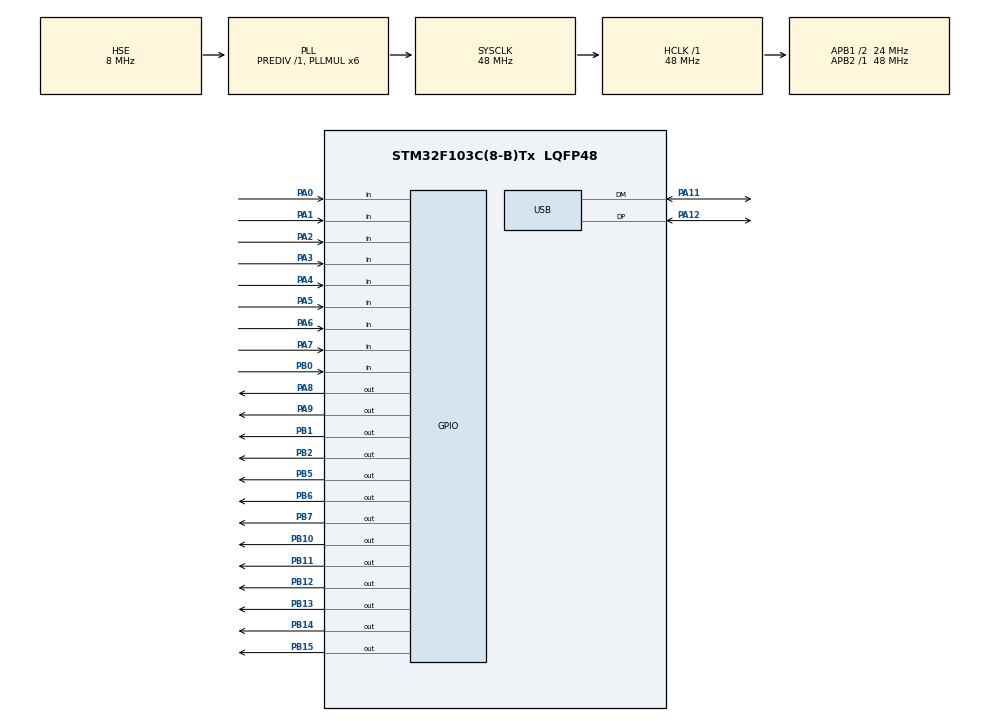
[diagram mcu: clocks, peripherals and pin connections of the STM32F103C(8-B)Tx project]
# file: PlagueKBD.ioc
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Mcu.Family=STM32F1
PA2.GPIO_PuPd=GPIO_PULLDOWN
FREERTOS.Queues01=keyboardRecordQueue,16,uint16_t,0,Dynamic,NULL,NULL
USB_DEVICE.CLASS_NAME_FS=HID
PB10.GPIO_PuPd=GPIO_PULLUP
FREERTOS.Events01=kbdHMIevent,Dynamic,NULL
PA3.GPIO_PuPd=GPIO_PULLDOWN
PA11.Mode=Device
PB11.GPIO_PuPd=GPIO_PULLUP
PB11.Signal=GPIO_Output
PB13.Signal=GPIO_Output
PB15.Signal=GPIO_Output
RCC.SYSCLKSource=RCC_SYSCLKSOURCE_PLLCLK
ProjectManager.StackSize=0x400
VP_FREERTOS_VS_CMSIS_V2.Mode=CMSIS_V2
PD1-OSC_OUT.Signal=RCC_OSC_OUT
PA12.Signal=USB_DP
PB1.GPIO_PuPd=GPIO_PULLUP
RCC.HCLKFreq_Value=48000000
RCC.APB2TimFreq_Value=48000000
PB6.Signal=GPIO_Output
PA1.GPIO_PuPd=GPIO_PULLDOWN
RCC.AHBFreq_Value=48000000
PA4.GPIO_PuPd=GPIO_PULLDOWN
PB2.Signal=GPIO_Output
PB3.Mode=JTAG_4_pins
PA15.Mode=JTAG_4_pins
RCC.PLLMUL=RCC_PLL_MUL6
PA6.GPIO_PuPd=GPIO_PULLDOWN
PA14.Mode=JTAG_4_pins
PA5.GPIO_PuPd=GPIO_PULLDOWN
PB7.Signal=GPIO_Output
PA8.Signal=GPIO_Output
PB2.GPIO_PuPd=GPIO_PULLUP
Mcu.Package=LQFP48
PB14.GPIO_PuPd=GPIO_PULLUP
PB1.Signal=GPIO_Output
PA6.Signal=GPIO_Input
PB15.GPIO_PuPd=GPIO_PULLUP
PA15.Signal=SYS_JTDI
RCC.APB1TimFreq_Value=48000000
PA3.Signal=GPIO_Input
PB7.GPIO_PuPd=GPIO_PULLUP
FREERTOS.Tasks01=defaultTask,24,128,StartDefaultTask,Default,NULL,Dynamic,NULL,NULL;kbdMatrixRead,40,128,StartTask_kbdMatrixRead,Default,NULL,Dynamic,NULL,NULL;processRecord,32,128,StartTask_processRecord,Default,NULL,Dynamic,NULL,NULL
PD1-OSC_OUT.Mode=HSE-External-Oscillator
USB_DEVICE.VirtualModeFS=Hid_FS
PB6.GPIO_PuPd=GPIO_PULLUP
PD0-OSC_IN.Signal=RCC_OSC_IN
RCC.APB1CLKDivider=RCC_HCLK_DIV2
PA9.GPIO_PuPd=GPIO_PULLUP
PA0-WKUP.Signal=GPIO_Input
PA13.Signal=SYS_JTMS-SWDIO
ProjectManager.TargetToolchain=STM32CubeIDE
PA9.Signal=GPIO_Output
RCC.USBFreq_Value=48000000
PA7.GPIO_PuPd=GPIO_PULLDOWN
PA1.Signal=GPIO_Input
PD0-OSC_IN.Mode=HSE-External-Oscillator
PB10.Signal=GPIO_Output
PB14.Signal=GPIO_Output
PA5.Signal=GPIO_Input
board=custom
PB13.GPIO_PuPd=GPIO_PULLUP
VP_USB_DEVICE_VS_USB_DEVICE_HID_FS.Mode=HID_FS
RCC.APB2Freq_Value=48000000
NVIC.USB_LP_CAN1_RX0_IRQn=true\:5\:0\:false\:false\:true\:true\:false\:true
PA13.Mode=JTAG_4_pins
Mcu.Name=STM32F103C(8-B)Tx
PA2.Signal=GPIO_Input
PB3.Signal=SYS_JTDO-TRACESWO
PA4.Signal=GPIO_Input
RCC.SYSCLKFreq_VALUE=48000000
PB5.Signal=GPIO_Output
PA12.Mode=Device
PB5.GPIO_PuPd=GPIO_PULLUP
PA11.Signal=USB_DM
PA14.Signal=SYS_JTCK-SWCLK
ProjectManager.HeapSize=0x200
PA8.GPIO_PuPd=GPIO_PULLUP
NVIC.PriorityGroup=NVIC_PRIORITYGROUP_4
PA0-WKUP.GPIO_PuPd=GPIO_PULLDOWN
PB12.GPIO_PuPd=GPIO_PULLUP
RCC.APB1Freq_Value=24000000
PB0.Signal=GPIO_Input
USB_DEVICE.VirtualMode=Hid
PB12.Signal=GPIO_Output
PB0.GPIO_PuPd=GPIO_PULLDOWN
PA7.Signal=GPIO_Input

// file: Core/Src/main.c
/* USER CODE BEGIN Header */
/**
  ******************************************************************************
  * @file           : main.c
  * @brief          : Main program body
  ******************************************************************************
  * @attention
  *
  * <h2><center>&copy; Copyright (c) 2021 STMicroelectronics.
  * All rights reserved.</center></h2>
  *
  * This software component is licensed by ST under BSD 3-Clause license,
  * the "License"; You may not use this file except in compliance with the
  * License. You may obtain a copy of the License at:
  *                        opensource.org/licenses/BSD-3-Clause
  *
  ******************************************************************************
  */
/* USER CODE END Header */
#include "main.h"
#include "cmsis_os.h"
#include "usb_device.h"

/* Definitions for defaultTask */
osThreadId_t defaultTaskHandle;
const osThreadAttr_t defaultTask_attributes = {
  .name = "defaultTask",
  .stack_size = 128 * 4,
  .priority = (osPriority_t) osPriorityNormal,
};
/* Definitions for kbdMatrixRead */
osThreadId_t kbdMatrixReadHandle;
const osThreadAttr_t kbdMatrixRead_attributes = {
  .name = "kbdMatrixRead",
  .stack_size = 128 * 4,
  .priority = (osPriority_t) osPriorityHigh,
};
/* Definitions for processRecord */
osThreadId_t processRecordHandle;
const osThreadAttr_t processRecord_attributes = {
  .name = "processRecord",
  .stack_size = 128 * 4,
  .priority = (osPriority_t) osPriorityAboveNormal,
};
/* Definitions for keyboardRecordQueue */
osMessageQueueId_t keyboardRecordQueueHandle;
const osMessageQueueAttr_t keyboardRecordQueue_attributes = {
  .name = "keyboardRecordQueue"
};
/* Definitions for kbdHMIevent */
osEventFlagsId_t kbdHMIeventHandle;
const osEventFlagsAttr_t kbdHMIevent_attributes = {
  .name = "kbdHMIevent"
};
/* USER CODE BEGIN PV */
extern uint8_t currentKeymapLevel;
extern KBDglobalState globalState;
/* USER CODE END PV */

void SystemClock_Config(void);
static void MX_GPIO_Init(void);
void StartDefaultTask(void *argument);
void StartTask_kbdMatrixRead(void *argument);
void StartTask_processRecord(void *argument);

int main(void)
{

  /* MCU Configuration--------------------------------------------------------*/

  /* Reset of all peripherals, Initializes the Flash interface and the Systick. */
   HAL_Init();

  /* Configure the system clock */
  SystemClock_Config();

  /* Initialize all configured peripherals */
  MX_GPIO_Init();
  /* USER CODE BEGIN 2 */
  LEDkeymapLevel(currentKeymapLevel);
  /* USER CODE END 2 */

  /* Init scheduler */
  osKernelInitialize();

  /* Create the queue(s) */
  /* creation of keyboardRecordQueue */
  keyboardRecordQueueHandle = osMessageQueueNew (16, sizeof(KEYMSGQUEUE_OBJ_t), &keyboardRecordQueue_attributes);

  /* Create the thread(s) */
  /* creation of defaultTask */
  defaultTaskHandle = osThreadNew(StartDefaultTask, NULL, &defaultTask_attributes);

  /* creation of kbdMatrixRead */
  kbdMatrixReadHandle = osThreadNew(StartTask_kbdMatrixRead, NULL, &kbdMatrixRead_attributes);

  /* creation of processRecord */
  processRecordHandle = osThreadNew(StartTask_processRecord, NULL, &processRecord_attributes);

  /* Create the event(s) */
  /* creation of kbdHMIevent */
  kbdHMIeventHandle = osEventFlagsNew(&kbdHMIevent_attributes);

  /* Start scheduler */
  osKernelStart();

  /* We should never get here as control is now taken by the scheduler */
  /* Infinite loop */
  while (1)
  {

  }
}

void SystemClock_Config(void)
{
  RCC_OscInitTypeDef RCC_OscInitStruct = {0};
  RCC_ClkInitTypeDef RCC_ClkInitStruct = {0};
  RCC_PeriphCLKInitTypeDef PeriphClkInit = {0};

  /** Initializes the RCC Oscillators according to the specified parameters
  * in the RCC_OscInitTypeDef structure.
  */
  RCC_OscInitStruct.OscillatorType = RCC_OSCILLATORTYPE_HSE;
  RCC_OscInitStruct.HSEState = RCC_HSE_ON;
  RCC_OscInitStruct.HSEPredivValue = RCC_HSE_PREDIV_DIV1;
  RCC_OscInitStruct.HSIState = RCC_HSI_ON;
  RCC_OscInitStruct.PLL.PLLState = RCC_PLL_ON;
  RCC_OscInitStruct.PLL.PLLSource = RCC_PLLSOURCE_HSE;
  RCC_OscInitStruct.PLL.PLLMUL = RCC_PLL_MUL6;
  if (HAL_RCC_OscConfig(&RCC_OscInitStruct) != HAL_OK)
  {
    Error_Handler();
  }
  /** Initializes the CPU, AHB and APB buses clocks
  */
  RCC_ClkInitStruct.ClockType = RCC_CLOCKTYPE_HCLK|RCC_CLOCKTYPE_SYSCLK
                              |RCC_CLOCKTYPE_PCLK1|RCC_CLOCKTYPE_PCLK2;
  RCC_ClkInitStruct.SYSCLKSource = RCC_SYSCLKSOURCE_PLLCLK;
  RCC_ClkInitStruct.AHBCLKDivider = RCC_SYSCLK_DIV1;
  RCC_ClkInitStruct.APB1CLKDivider = RCC_HCLK_DIV2;
  RCC_ClkInitStruct.APB2CLKDivider = RCC_HCLK_DIV1;

  if (HAL_RCC_ClockConfig(&RCC_ClkInitStruct, FLASH_LATENCY_1) != HAL_OK)
  {
    Error_Handler();
  }
  PeriphClkInit.PeriphClockSelection = RCC_PERIPHCLK_USB;
  PeriphClkInit.UsbClockSelection = RCC_USBCLKSOURCE_PLL;
  if (HAL_RCCEx_PeriphCLKConfig(&PeriphClkInit) != HAL_OK)
  {
    Error_Handler();
  }
}

static void MX_GPIO_Init(void)
{
  GPIO_InitTypeDef GPIO_InitStruct = {0};

  /* GPIO Ports Clock Enable */
  __HAL_RCC_GPIOD_CLK_ENABLE();
  __HAL_RCC_GPIOA_CLK_ENABLE();
  __HAL_RCC_GPIOB_CLK_ENABLE();

  /*Configure GPIO pin Output Level */
  HAL_GPIO_WritePin(GPIOB, GPIO_PIN_1|GPIO_PIN_2|GPIO_PIN_10|GPIO_PIN_11
                          |GPIO_PIN_12|GPIO_PIN_13|GPIO_PIN_14|GPIO_PIN_15
                          |GPIO_PIN_5|GPIO_PIN_6|GPIO_PIN_7, GPIO_PIN_RESET);

  /*Configure GPIO pin Output Level */
  HAL_GPIO_WritePin(GPIOA, GPIO_PIN_8|GPIO_PIN_9, GPIO_PIN_RESET);

  /*Configure GPIO pins : PA0 PA1 PA2 PA3
                           PA4 PA5 PA6 PA7 */
  GPIO_InitStruct.Pin = GPIO_PIN_0|GPIO_PIN_1|GPIO_PIN_2|GPIO_PIN_3
                          |GPIO_PIN_4|GPIO_PIN_5|GPIO_PIN_6|GPIO_PIN_7;
  GPIO_InitStruct.Mode = GPIO_MODE_INPUT;
  GPIO_InitStruct.Pull = GPIO_PULLDOWN;
  HAL_GPIO_Init(GPIOA, &GPIO_InitStruct);

  /*Configure GPIO pin : PB0 */
  GPIO_InitStruct.Pin = GPIO_PIN_0;
  GPIO_InitStruct.Mode = GPIO_MODE_INPUT;
  GPIO_InitStruct.Pull = GPIO_PULLDOWN;
  HAL_GPIO_Init(GPIOB, &GPIO_InitStruct);

  /*Configure GPIO pins : PB1 PB2 PB10 PB11
                           PB12 PB13 PB14 PB15
                           PB5 PB6 PB7 */
  GPIO_InitStruct.Pin = GPIO_PIN_1|GPIO_PIN_2|GPIO_PIN_10|GPIO_PIN_11
                          |GPIO_PIN_12|GPIO_PIN_13|GPIO_PIN_14|GPIO_PIN_15
                          |GPIO_PIN_5|GPIO_PIN_6|GPIO_PIN_7;
  GPIO_InitStruct.Mode = GPIO_MODE_OUTPUT_PP;
  GPIO_InitStruct.Pull = GPIO_PULLUP;
  GPIO_InitStruct.Speed = GPIO_SPEED_FREQ_LOW;
  HAL_GPIO_Init(GPIOB, &GPIO_InitStruct);

  /*Configure GPIO pins : PA8 PA9 */
  GPIO_InitStruct.Pin = GPIO_PIN_8|GPIO_PIN_9;
  GPIO_InitStruct.Mode = GPIO_MODE_OUTPUT_PP;
  GPIO_InitStruct.Pull = GPIO_PULLUP;
  GPIO_InitStruct.Speed = GPIO_SPEED_FREQ_LOW;
  HAL_GPIO_Init(GPIOA, &GPIO_InitStruct);

}

/* USER CODE BEGIN 4 */

void LED_INIT(void){

	HAL_GPIO_WritePin(GPIOA, GPIO_PIN_8, GPIO_PIN_SET);
	HAL_GPIO_WritePin(GPIOA, GPIO_PIN_9, GPIO_PIN_SET);
	HAL_GPIO_WritePin(GPIOB, GPIO_PIN_5, GPIO_PIN_SET);
	HAL_GPIO_WritePin(GPIOB, GPIO_PIN_6, GPIO_PIN_SET);
	HAL_GPIO_WritePin(GPIOB, GPIO_PIN_7, GPIO_PIN_SET);
}

void LEDkeymapLevel(uint8_t KBDlayoutLevel){
	switch(KBDlayoutLevel){
		default:
		case 0:
			HAL_GPIO_WritePin(GPIOB, GPIO_PIN_6, GPIO_PIN_SET);
			HAL_GPIO_WritePin(GPIOB, GPIO_PIN_5, GPIO_PIN_RESET);
			HAL_GPIO_WritePin(GPIOB, GPIO_PIN_7, GPIO_PIN_RESET);
			break;
		case 1:
			HAL_GPIO_WritePin(GPIOB, GPIO_PIN_6, GPIO_PIN_RESET);
			HAL_GPIO_WritePin(GPIOB, GPIO_PIN_5, GPIO_PIN_SET);
			HAL_GPIO_WritePin(GPIOB, GPIO_PIN_7, GPIO_PIN_RESET);
			break;
		case 2:
			HAL_GPIO_WritePin(GPIOB, GPIO_PIN_6, GPIO_PIN_RESET);
			HAL_GPIO_WritePin(GPIOB, GPIO_PIN_5, GPIO_PIN_RESET);
			HAL_GPIO_WritePin(GPIOB, GPIO_PIN_7, GPIO_PIN_SET);
			break;

	}
}

void LEDmajLock(char ledState){
	switch(ledState){
		default:
		case 0:
			HAL_GPIO_WritePin(GPIOA, GPIO_PIN_9, GPIO_PIN_RESET);
			break;
		case 1:
			HAL_GPIO_WritePin(GPIOA, GPIO_PIN_9, GPIO_PIN_SET);
	}
}

void LEDScrollLock(char ledState){
	switch(ledState){
		default:
		case 0:
			HAL_GPIO_WritePin(GPIOA, GPIO_PIN_8, GPIO_PIN_RESET);
			break;
		case 1:
			HAL_GPIO_WritePin(GPIOA, GPIO_PIN_8, GPIO_PIN_SET);
	}
}

/* USER CODE END 4 */

void StartDefaultTask(void *argument)
{
  /* init code for USB_DEVICE */
  MX_USB_DEVICE_Init();
  /* USER CODE BEGIN 5 */

  uint32_t HmiEventFlag;

  /* Infinite loop */
  for(;;)
  {

	  HmiEventFlag=osEventFlagsWait(kbdHMIeventHandle, 0xFFFFU, NULL, 1000/*osWaitForever*/);  // wait forever for any flag

	  if (HmiEventFlag!=0xfffffffe){
		  if (HmiEventFlag & FLAG_LAYOUT_PAGE_UP)
		  {

			  if (currentKeymapLevel<2)
				currentKeymapLevel++;
			  else
				currentKeymapLevel=0;

			  LEDkeymapLevel(currentKeymapLevel);
		  }

		  if (HmiEventFlag & FLAG_LAYOUT_PAGE_DOWN)
		  {
			  if (currentKeymapLevel>0)
				  currentKeymapLevel--;
			  else
				  currentKeymapLevel=2;

			LEDkeymapLevel(currentKeymapLevel);
		  }

		  if (HmiEventFlag & FLAG_MAJLOCK_SET)
		  {
			  if (globalState.MAJ_LOCK==1)
				  LEDmajLock(1);
			  else
				  LEDmajLock(0);

		  }

		  if (HmiEventFlag & FLAG_SCROLLLOCK_SET)
		  {
			  if (globalState.SCROLL_LOCL==1)
				  LEDScrollLock(1);
			  else
				  LEDScrollLock(0);

		  }

	  }

  }
  /* USER CODE END 5 */
}

void StartTask_kbdMatrixRead(void *argument)
{
  /* USER CODE BEGIN StartTask_kbdMatrixRead */
  /* Infinite loop */
  for(;;)
  {
    osDelay(50);

    kbdMatrixRead();

  }
  /* USER CODE END StartTask_kbdMatrixRead */
}

void StartTask_processRecord(void *argument)
{
  /* USER CODE BEGIN StartTask_processRecord */
  /* Infinite loop */
  for(;;)
  {
    osDelay(30);
    processRecord();
  }
  /* USER CODE END StartTask_processRecord */
}

void Error_Handler(void)
{
  __disable_irq();
  while (1)
  {
  }
}

/************************ (C) COPYRIGHT STMicroelectronics *****END OF FILE****/
